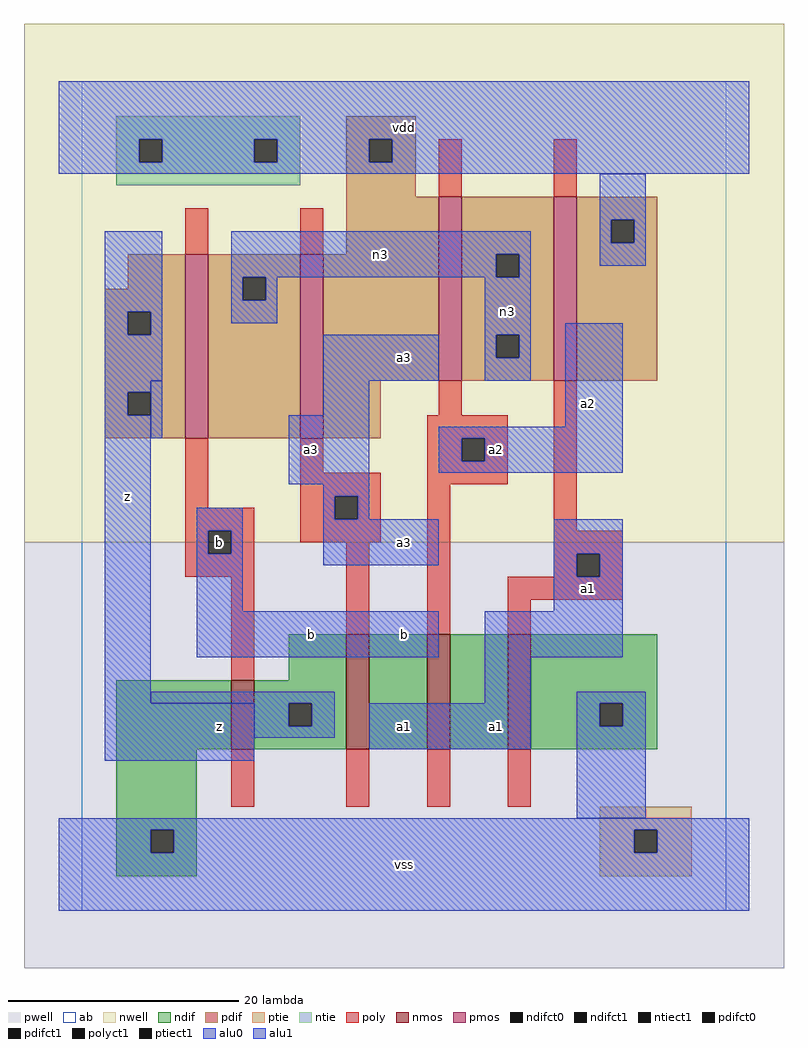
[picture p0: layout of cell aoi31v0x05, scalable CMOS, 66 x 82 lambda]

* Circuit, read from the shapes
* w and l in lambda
.subckt aoi31v0x05 a1 a2 a3 b n3 vdd vss z
M1 z b vss vss nfet w=6 l=2
M2 n1 a3 z vss nfet w=10 l=2
M3 n2 a2 n1 vss nfet w=10 l=2
M4 vss a1 n2 vss nfet w=10 l=2
M5 n3 b z vdd pfet w=16 l=2
M6 vdd a3 n3 vdd pfet w=16 l=2
M7 n3 a2 vdd vdd pfet w=16 l=2
M8 vdd a1 n3 vdd pfet w=16 l=2
.ends

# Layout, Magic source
magic
tech scmos
<< ab >>
rect 0 0 56 72
<< nwell >>
rect -5 32 61 77
<< pwell >>
rect -5 -5 61 32
<< poly >>
rect 31 62 33 67
rect 41 62 43 67
rect 9 57 11 61
rect 19 57 21 61
rect 31 43 33 46
rect 30 41 37 43
rect 9 35 11 41
rect 19 38 21 41
rect 30 39 33 41
rect 35 39 37 41
rect 19 36 26 38
rect 9 33 15 35
rect 9 31 11 33
rect 13 31 15 33
rect 19 34 22 36
rect 24 34 26 36
rect 19 32 26 34
rect 30 37 37 39
rect 9 29 15 31
rect 13 20 15 29
rect 23 24 25 32
rect 30 24 32 37
rect 41 33 43 46
rect 41 31 47 33
rect 41 29 43 31
rect 45 29 47 31
rect 37 27 47 29
rect 37 24 39 27
rect 13 9 15 14
rect 23 9 25 14
rect 30 9 32 14
rect 37 9 39 14
<< ndif >>
rect 18 20 23 24
rect 3 14 13 20
rect 15 18 23 20
rect 15 16 18 18
rect 20 16 23 18
rect 15 14 23 16
rect 25 14 30 24
rect 32 14 37 24
rect 39 18 50 24
rect 39 16 45 18
rect 47 16 50 18
rect 39 14 50 16
rect 3 7 10 14
rect 3 5 6 7
rect 8 5 10 7
rect 3 3 10 5
<< pdif >>
rect 23 67 29 69
rect 23 65 25 67
rect 27 65 29 67
rect 23 62 29 65
rect 23 57 31 62
rect 4 54 9 57
rect 2 52 9 54
rect 2 50 4 52
rect 6 50 9 52
rect 2 45 9 50
rect 2 43 4 45
rect 6 43 9 45
rect 2 41 9 43
rect 11 55 19 57
rect 11 53 14 55
rect 16 53 19 55
rect 11 41 19 53
rect 21 46 31 57
rect 33 57 41 62
rect 33 55 36 57
rect 38 55 41 57
rect 33 50 41 55
rect 33 48 36 50
rect 38 48 41 50
rect 33 46 41 48
rect 43 60 50 62
rect 43 58 46 60
rect 48 58 50 60
rect 43 46 50 58
rect 21 41 26 46
<< alu1 >>
rect -2 67 58 72
rect -2 65 5 67
rect 7 65 15 67
rect 17 65 25 67
rect 27 65 58 67
rect -2 64 58 65
rect 2 52 7 59
rect 2 50 4 52
rect 6 50 7 52
rect 2 46 7 50
rect 2 45 6 46
rect 2 43 4 45
rect 2 18 6 43
rect 21 46 31 50
rect 21 43 25 46
rect 18 37 25 43
rect 42 42 47 51
rect 31 41 47 42
rect 31 39 33 41
rect 35 39 47 41
rect 31 38 47 39
rect 21 36 25 37
rect 10 33 14 35
rect 10 31 11 33
rect 13 31 14 33
rect 10 26 14 31
rect 21 34 22 36
rect 24 34 25 36
rect 21 30 31 34
rect 41 31 47 34
rect 41 29 43 31
rect 45 29 47 31
rect 41 26 47 29
rect 10 22 31 26
rect 35 22 47 26
rect 35 18 39 22
rect 2 13 15 18
rect 25 14 39 18
rect -2 7 58 8
rect -2 5 6 7
rect 8 5 48 7
rect 50 5 58 7
rect -2 0 58 5
<< ptie >>
rect 45 7 53 9
rect 45 5 48 7
rect 50 5 53 7
rect 45 3 53 5
<< ntie >>
rect 3 67 19 69
rect 3 65 5 67
rect 7 65 15 67
rect 17 65 19 67
rect 3 63 19 65
<< nmos >>
rect 13 14 15 20
rect 23 14 25 24
rect 30 14 32 24
rect 37 14 39 24
<< pmos >>
rect 9 41 11 57
rect 19 41 21 57
rect 31 46 33 62
rect 41 46 43 62
<< polyct1 >>
rect 33 39 35 41
rect 11 31 13 33
rect 22 34 24 36
rect 43 29 45 31
<< ndifct0 >>
rect 18 16 20 18
rect 45 16 47 18
<< ndifct1 >>
rect 6 5 8 7
<< ntiect1 >>
rect 5 65 7 67
rect 15 65 17 67
<< ptiect1 >>
rect 48 5 50 7
<< pdifct0 >>
rect 14 53 16 55
rect 36 55 38 57
rect 36 48 38 50
rect 46 58 48 60
<< pdifct1 >>
rect 25 65 27 67
rect 4 50 6 52
rect 4 43 6 45
<< alu0 >>
rect 45 60 49 64
rect 13 57 39 59
rect 13 55 36 57
rect 38 55 39 57
rect 45 58 46 60
rect 48 58 49 60
rect 45 56 49 58
rect 13 53 14 55
rect 16 53 17 55
rect 13 51 17 53
rect 35 50 39 55
rect 6 41 7 46
rect 35 48 36 50
rect 38 48 39 50
rect 35 46 39 48
rect 6 18 22 19
rect 15 16 18 18
rect 20 16 22 18
rect 15 15 22 16
rect 43 18 49 19
rect 43 16 45 18
rect 47 16 49 18
rect 43 8 49 16
<< labels >>
rlabel alu0 37 52 37 52 6 n3
rlabel alu0 26 57 26 57 6 n3
rlabel alu1 4 36 4 36 6 z
rlabel alu1 12 16 12 16 6 z
rlabel polyct1 12 32 12 32 6 b
rlabel alu1 20 24 20 24 6 b
rlabel alu1 20 40 20 40 6 a3
rlabel alu1 28 4 28 4 6 vss
rlabel alu1 36 16 36 16 6 a1
rlabel alu1 28 16 28 16 6 a1
rlabel alu1 28 24 28 24 6 b
rlabel alu1 28 32 28 32 6 a3
rlabel alu1 36 40 36 40 6 a2
rlabel alu1 28 48 28 48 6 a3
rlabel alu1 28 68 28 68 6 vdd
rlabel alu1 44 28 44 28 6 a1
rlabel alu1 44 44 44 44 6 a2
<< end >>
